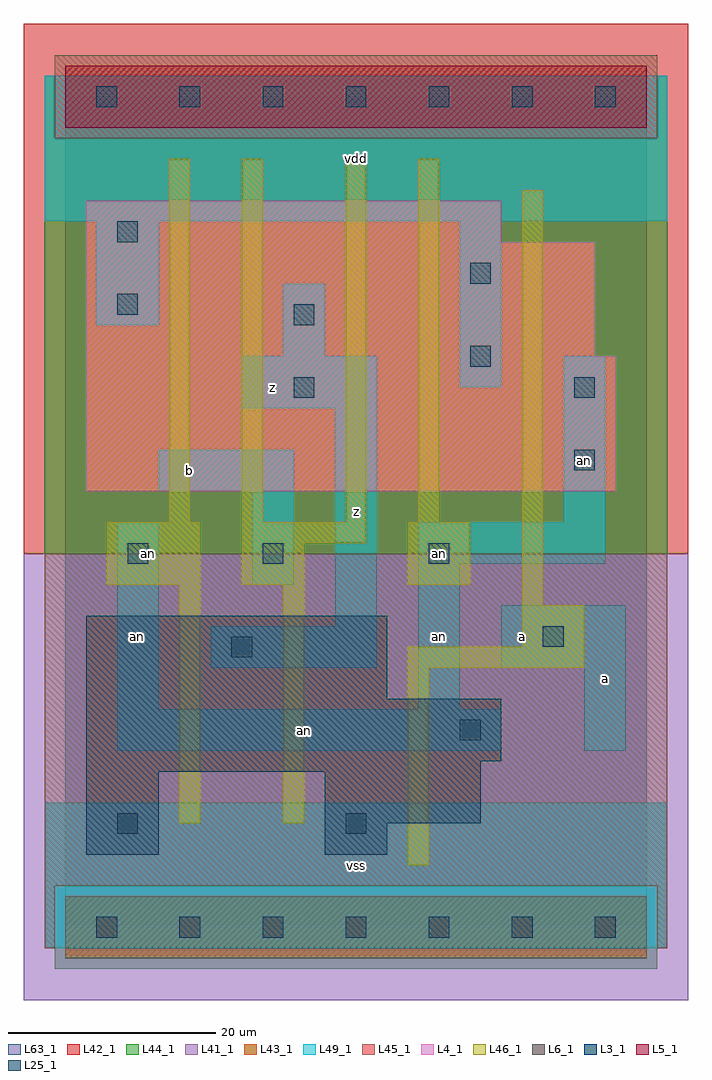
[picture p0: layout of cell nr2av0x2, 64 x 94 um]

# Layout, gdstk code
import gdstk
lib = gdstk.Library(unit=1e-6, precision=1e-09)
def R(c, l, rs):  # rectangles x0, y0, x1, y1
    for r in rs: c.add(gdstk.rectangle(r[:2], r[2:], *l))
def A(c, l, x, y, w, h, nx, ny, dx, dy):  # array of equal rectangles
    R(c, l, [(x+i*dx, y+j*dy, x+i*dx+w, y+j*dy+h) for i in range(nx) for j in range(ny)])
L3_1 = (3, 1)
L4_1 = (4, 1)
L5_1 = (5, 1)
L6_1 = (6, 1)
L25_1 = (25, 1)
L41_1 = (41, 1)
L42_1 = (42, 1)
L43_1 = (43, 1)
L44_1 = (44, 1)
L45_1 = (45, 1)
L46_1 = (46, 1)
L49_1 = (49, 1)
L63_1 = (63, 1)

nr2av0x2 = lib.new_cell('nr2av0x2')
R(nr2av0x2, L3_1, [(2,7,9,15), (25,7,31,10), (25,10,40,15), (2,15,40,16), (2,16,42,22), (2,22,31,30)])
R(nr2av0x2, L4_1, [(2,42,53,55), (2,55,51,66), (2,66,42,70)])
R(nr2av0x2, L5_1, [(0,77,56,83)])
R(nr2av0x2, L6_1, [(0,-3,56,3), (0,-3,56,3)])
A(nr2av0x2, L25_1, 3, -1, 2, 2, 7, 2, 8, 80)
R(nr2av0x2, L25_1, [(5,9,7,11), (27,9,29,11), (38,18,40,20), (16,26,18,28), (46,27,48,29), (6,35,8,37), (19,35,21,37), (35,35,37,37), (49,44,51,46), (22,51,24,53), (49,51,51,53), (39,54,41,56), (22,58,24,60), (5,59,7,61), (39,62,41,64), (5,66,7,68)])
R(nr2av0x2, L41_1, [(-4,-7,60,36)])
R(nr2av0x2, L42_1, [(-4,36,60,87)])
R(nr2av0x2, L43_1, [(0,-3,56,3), (2,7,9,15), (25,7,31,10), (25,10,40,15), (2,15,40,16), (2,16,42,22), (2,22,31,30), (2,42,53,55), (2,55,51,66), (2,66,42,70), (0,77,56,83)])
R(nr2av0x2, L44_1, [(-1,-4,57,4), (-2,36,58,76), (-2,76,-1,82), (57,76,58,82)])
R(nr2av0x2, L45_1, [(-2,-2,-1,4), (57,-2,58,4), (-2,4,58,36), (-1,76,57,84)])
R(nr2av0x2, L46_1, [(33,6,35,25), (11,10,13,33), (21,10,23,33), (33,25,50,27), (44,27,50,31), (44,31,46,71), (4,33,13,39), (17,33,23,37), (33,33,39,39), (17,37,29,39), (10,39,12,74), (17,39,19,74), (27,39,29,74), (34,39,36,74)])
R(nr2av0x2, L49_1, [(-2,-2,58,12), (5,17,42,21), (50,17,54,25), (5,21,9,39), (34,21,38,35), (14,25,30,29), (42,25,54,31), (26,29,30,50), (18,33,22,42), (34,35,52,39), (48,39,52,55), (9,42,22,46), (17,50,30,55), (38,52,42,68), (21,55,25,62), (3,58,9,68), (-2,68,58,82)])
R(nr2av0x2, L63_1, [(0,0,56,80)])
nr2av0x2.add(gdstk.Label('an', (8,36), layer=49, texttype=1))
nr2av0x2.add(gdstk.Label('an', (36,36), layer=49, texttype=1))
nr2av0x2.add(gdstk.Label('an', (7,28), layer=49, texttype=1))
nr2av0x2.add(gdstk.Label('b', (12,44), layer=49, texttype=1))
nr2av0x2.add(gdstk.Label('z', (20,52), layer=49, texttype=1))
nr2av0x2.add(gdstk.Label('vss', (28,6), layer=49, texttype=1))
nr2av0x2.add(gdstk.Label('an', (36,28), layer=49, texttype=1))
nr2av0x2.add(gdstk.Label('an', (23,19), layer=49, texttype=1))
nr2av0x2.add(gdstk.Label('z', (28,40), layer=49, texttype=1))
nr2av0x2.add(gdstk.Label('vdd', (28,74), layer=49, texttype=1))
nr2av0x2.add(gdstk.Label('a', (44,28), layer=49, texttype=1))
nr2av0x2.add(gdstk.Label('a', (52,24), layer=49, texttype=1))
nr2av0x2.add(gdstk.Label('an', (50,45), layer=49, texttype=1))

lib.write_gds('nr2av0x2.gds')
